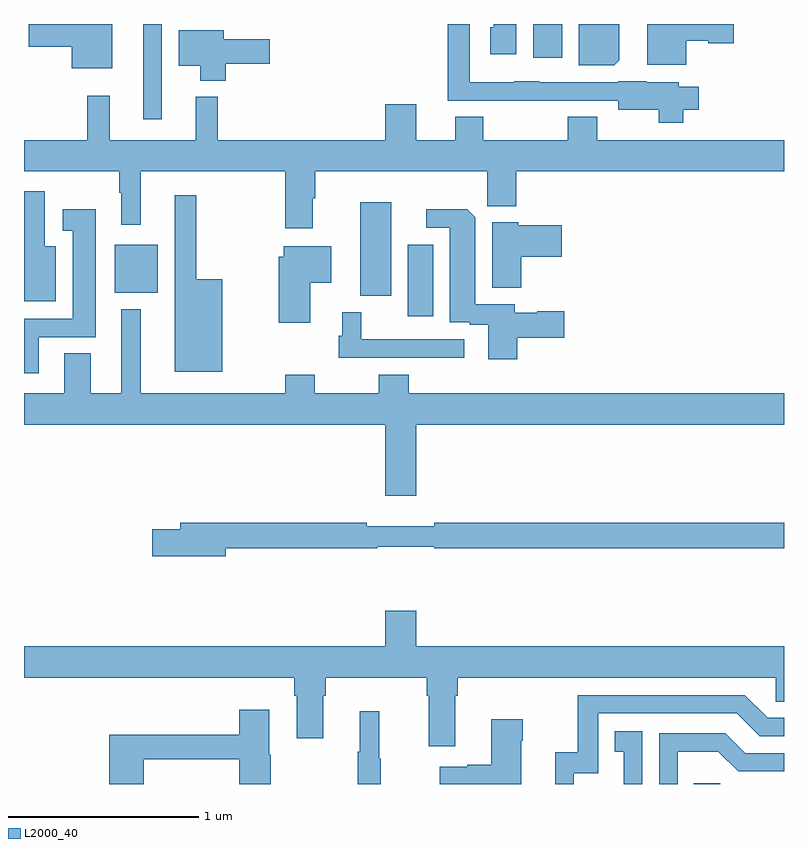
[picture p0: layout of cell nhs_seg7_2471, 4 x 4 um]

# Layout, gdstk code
import gdstk
lib = gdstk.Library(unit=1e-6, precision=1e-09)
def R(c, l, rs):  # rectangles x0, y0, x1, y1
    for r in rs: c.add(gdstk.rectangle(r[:2], r[2:], *l))
def P(c, l, *ps):  # polygons
    for p in ps: c.add(gdstk.Polygon(p, *l))
L2000_40 = (2000, 40)

nhs_seg7_2471 = lib.new_cell('nhs_seg7_2471')
R(nhs_seg7_2471, L2000_40, [(274.525,1056,274.665,1056.003), (273.02,1058.463,273.154,1058.839), (272.771,1058.571,272.932,1059.061), (271.478,1058.585,271.705,1058.839), (271.628,1059.498,271.725,1060), (273.68,1059.822,273.832,1060)])
P(nhs_seg7_2471, L2000_40, [(274.132,1059.808),(274.132,1060),(273.92,1060),(273.92,1059.782),(274.106,1059.782)],
  [(271.465,1060),(271.026,1060),(271.026,1059.881),(271.25,1059.881),(271.25,1059.767),(271.465,1059.767)],
  [(274.486,1059.911),(274.602,1059.911),(274.602,1059.899),(274.735,1059.899),(274.735,1060),(274.28,1060),(274.28,1059.785),(274.486,1059.785)],
  [(274.469,1059.548),(274.552,1059.548),(274.552,1059.67),(274.446,1059.67),(274.446,1059.694),(274.278,1059.694),(274.278,1059.7),(274.128,1059.7),(274.128,1059.693),(273.711,1059.693),(273.711,1059.7),(273.579,1059.7),(273.579,1059.694),(273.345,1059.694),(273.345,1060),(273.229,1060),(273.229,1059.597),(273.479,1059.597),(273.479,1059.596),(273.711,1059.596),(273.711,1059.597),(274.128,1059.597),(274.128,1059.548),(274.341,1059.548),(274.341,1059.479),(274.469,1059.479)],
  [(273.592,1060),(273.473,1060),(273.473,1059.984),(273.455,1059.984),(273.455,1059.84),(273.592,1059.84)],
  [(272.063,1059.79),(272.293,1059.79),(272.293,1059.919),(272.05,1059.919),(272.05,1059.967),(271.814,1059.967),(271.814,1059.779),(271.928,1059.779),(271.928,1059.701),(272.063,1059.701)],
  [(273.439,1059.042),(273.59,1059.042),(273.59,1059.224),(275,1059.224),(275,1059.388),(274.017,1059.388),(274.017,1059.512),(273.862,1059.512),(273.862,1059.388),(273.417,1059.388),(273.417,1059.512),(273.269,1059.512),(273.269,1059.388),(273.064,1059.388),(273.064,1059.577),(272.9,1059.577),(272.9,1059.388),(272.021,1059.388),(272.021,1059.616),(271.904,1059.616),(271.904,1059.388),(271.451,1059.388),(271.451,1059.622),(271.333,1059.622),(271.333,1059.388),(271,1059.388),(271,1059.224),(271.501,1059.224),(271.501,1059.112),(271.511,1059.112),(271.511,1058.943),(271.615,1058.943),(271.615,1059.224),(272.374,1059.224),(272.374,1058.925),(272.521,1058.925),(272.521,1059.083),(272.534,1059.083),(272.534,1059.224),(273.439,1059.224)],
  [(271.168,1058.83),(271.108,1058.83),(271.108,1059.121),(271,1059.121),(271,1058.54),(271.168,1058.54)],
  [(272.044,1058.656),(271.907,1058.656),(271.907,1059.1),(271.793,1059.1),(271.793,1058.171),(272.044,1058.171)],
  [(273.596,1058.35),(273.844,1058.35),(273.844,1058.487),(273.7,1058.487),(273.7,1058.479),(273.583,1058.479),(273.583,1058.526),(273.376,1058.526),(273.376,1058.984),(273.334,1059.026),(273.117,1059.026),(273.117,1058.928),(273.242,1058.928),(273.242,1058.43),(273.347,1058.43),(273.347,1058.418),(273.443,1058.418),(273.443,1058.235),(273.596,1058.235)],
  [(271.078,1058.352),(271.378,1058.352),(271.378,1059.025),(271.203,1059.025),(271.203,1058.912),(271.256,1058.912),(271.256,1058.448),(271,1058.448),(271,1058.163),(271.078,1058.163)],
  [(273.617,1058.776),(273.829,1058.776),(273.829,1058.941),(273.6,1058.941),(273.6,1058.956),(273.464,1058.956),(273.464,1058.611),(273.617,1058.611)],
  [(272.506,1058.639),(272.617,1058.639),(272.617,1058.83),(272.366,1058.83),(272.366,1058.775),(272.341,1058.775),(272.341,1058.427),(272.506,1058.427)],
  [(273.064,1057.892),(275,1057.892),(275,1058.056),(273.026,1058.056),(273.026,1058.155),(272.866,1058.155),(272.866,1058.056),(272.529,1058.056),(272.529,1058.155),(272.374,1058.155),(272.374,1058.056),(271.615,1058.056),(271.615,1058.5),(271.511,1058.5),(271.511,1058.056),(271.351,1058.056),(271.351,1058.267),(271.211,1058.267),(271.211,1058.056),(271,1058.056),(271,1057.892),(272.9,1057.892),(272.9,1057.518),(273.064,1057.518)],
  [(273.316,1058.34),(272.775,1058.34),(272.775,1058.482),(272.675,1058.482),(272.675,1058.358),(272.656,1058.358),(272.656,1058.244),(273.316,1058.244)],
  [(272.062,1057.24),(272.858,1057.24),(272.858,1057.248),(273.158,1057.248),(273.158,1057.24),(275,1057.24),(275,1057.376),(273.16,1057.376),(273.16,1057.357),(272.804,1057.357),(272.804,1057.376),(271.823,1057.376),(271.823,1057.34),(271.674,1057.34),(271.674,1057.198),(272.062,1057.198)],
  [(273.271,1056.464),(273.284,1056.464),(273.284,1056.56),(274.956,1056.56),(274.956,1056.433),(275,1056.433),(275,1056.724),(273.064,1056.724),(273.064,1056.913),(272.9,1056.913),(272.9,1056.724),(271,1056.724),(271,1056.56),(272.423,1056.56),(272.423,1056.464),(272.435,1056.464),(272.435,1056.24),(272.575,1056.24),(272.575,1056.464),(272.588,1056.464),(272.588,1056.56),(273.119,1056.56),(273.119,1056.464),(273.131,1056.464),(273.131,1056.198),(273.271,1056.198)],
  [(273.894,1056.057),(274.023,1056.057),(274.023,1056.372),(274.752,1056.372),(274.872,1056.252),(275,1056.252),(275,1056.348),(274.914,1056.348),(274.794,1056.468),(273.915,1056.468),(273.915,1056.166),(273.797,1056.166),(273.797,1056),(273.894,1056)],
  [(271.631,1056.13),(272.132,1056.13),(272.132,1056),(272.298,1056),(272.298,1056.153),(272.29,1056.153),(272.29,1056.391),(272.132,1056.391),(272.132,1056.259),(271.448,1056.259),(271.448,1056),(271.631,1056)],
  [(272.878,1056.132),(272.87,1056.132),(272.87,1056.382),(272.768,1056.382),(272.768,1056.169),(272.757,1056.169),(272.757,1056),(272.878,1056)],
  [(273.616,1056.227),(273.624,1056.227),(273.624,1056.34),(273.458,1056.34),(273.458,1056.101),(273.332,1056.101),(273.332,1056.091),(273.189,1056.091),(273.189,1056),(273.616,1056)],
  [(274.254,1056.277),(274.108,1056.277),(274.108,1056.171),(274.157,1056.171),(274.157,1056),(274.254,1056)],
  [(274.44,1056.17),(274.654,1056.17),(274.758,1056.066),(275,1056.066),(275,1056.162),(274.795,1056.162),(274.69,1056.267),(274.344,1056.267),(274.344,1056),(274.44,1056)])

lib.write_gds('nhs_seg7_2471.gds')
